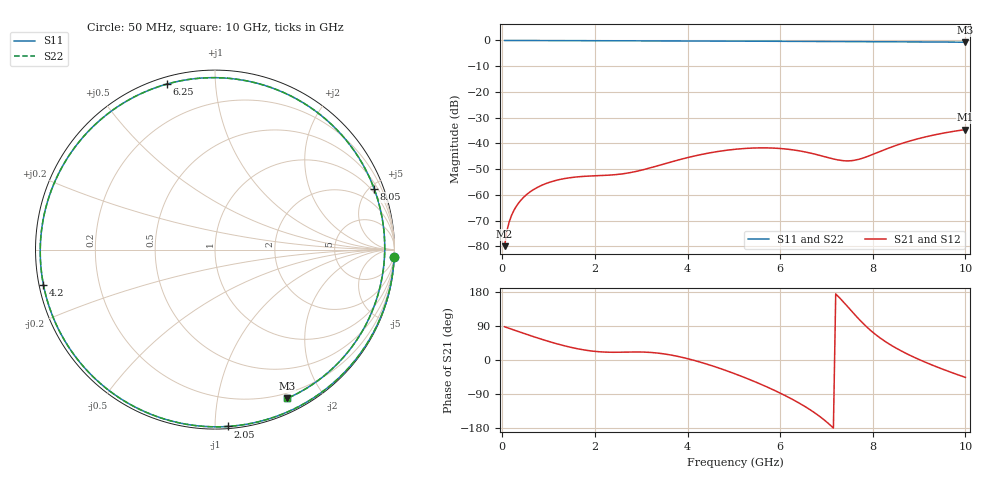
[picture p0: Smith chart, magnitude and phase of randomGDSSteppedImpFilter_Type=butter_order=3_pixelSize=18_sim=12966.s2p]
! freq	dB(S11)	phase(S11)	dB(S12)	phase(S12)
!  dB(S21)	phase(S21)	dB(S22)	phase(S22)
!S-par simulation data
#  GHz  S  DB  R 50
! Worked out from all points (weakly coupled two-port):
!   200 points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, 50 MHz to 10 GHz, reference 50 ohm
!   highest |S21| = -34.62 dB at 10 GHz (marker M1); lowest = -79.9 dB at 50 MHz (marker M2)
!   lowest |S11| = -0.7 dB at 10 GHz (marker M3), VSWR 24.38, Z = 7.24 - j79.3 ohm
!   |S11| at or under -10 dB: nowhere
!   |S22| runs from -0.7 to 0.0 dB; largest |S21 - S12| = 0
!   S11 on the Smith chart (normalised r, x): 50 MHz: 1, -52; 2.05 GHz: 0.01, -1.08; 4.2 GHz: 0.01, -0.10; 6.25 GHz: 0.03, +0.75; 8.05 GHz: 0.78, +5.33; 10 GHz: 0.14, -1.59
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0.05  -0.01 -2.2  -79.93 87.8  -79.93 87.8  -0.01 -2.2
0.1  -0.01 -4.4  -73.93 85.6  -73.93 85.6  -0.01 -4.4
0.2  -0.01 -8.7  -67.96 81.3  -67.96 81.3  -0.01 -8.7
0.35  -0.02 -15.2  -63.21 75.0  -63.21 75.0  -0.02 -15.2
0.5  -0.02 -21.6  -60.28 68.7  -60.28 68.7  -0.02 -21.6
1  -0.05 -42.9  -55.23 49.1  -55.23 49.1  -0.05 -42.9
1.75  -0.09 -73.7  -52.82 26.9  -52.82 26.9  -0.09 -73.7
2.05  -0.11 -85.7  -52.55 22.2  -52.55 22.2  -0.11 -85.7
2.7  -0.13 -111.1  -51.56 20.9  -51.56 20.9  -0.13 -111.1
3.4  -0.17 -137.8  -48.46 17.7  -48.46 17.7  -0.17 -137.8
4.2  -0.21 -168.3  -44.68 -3.0  -44.68 -3.0  -0.21 -168.3
4.65  -0.24 174.1  -43.16 -20.1  -43.16 -20.1  -0.24 174.1
5.05  -0.27 158.0  -42.25 -37.6  -42.25 -37.6  -0.27 158.0
5.6  -0.31 134.9  -41.73 -64.9  -41.73 -64.9  -0.31 134.9
6.25  -0.35 106.1  -42.45 -102.9  -42.45 -102.9  -0.35 106.1
6.7  -0.38 85.2  -43.96 -135.6  -43.96 -135.6  -0.38 85.2
7.05  -0.40 68.6  -45.60 -168.4  -45.60 -168.4  -0.40 68.6
7.45  -0.42 49.4  -46.80 141.8  -46.80 141.8  -0.42 49.4
8.05  -0.45 20.8  -43.92 68.2  -43.92 68.2  -0.45 20.8
8.35  -0.47 6.9  -41.78 42.5  -41.78 42.5  -0.47 6.8
9.1  -0.55 -26.6  -37.63 -4.1  -37.63 -4.1  -0.55 -26.6
10  -0.71 -64.2  -34.62 -45.9  -34.62 -45.9  -0.71 -64.2
